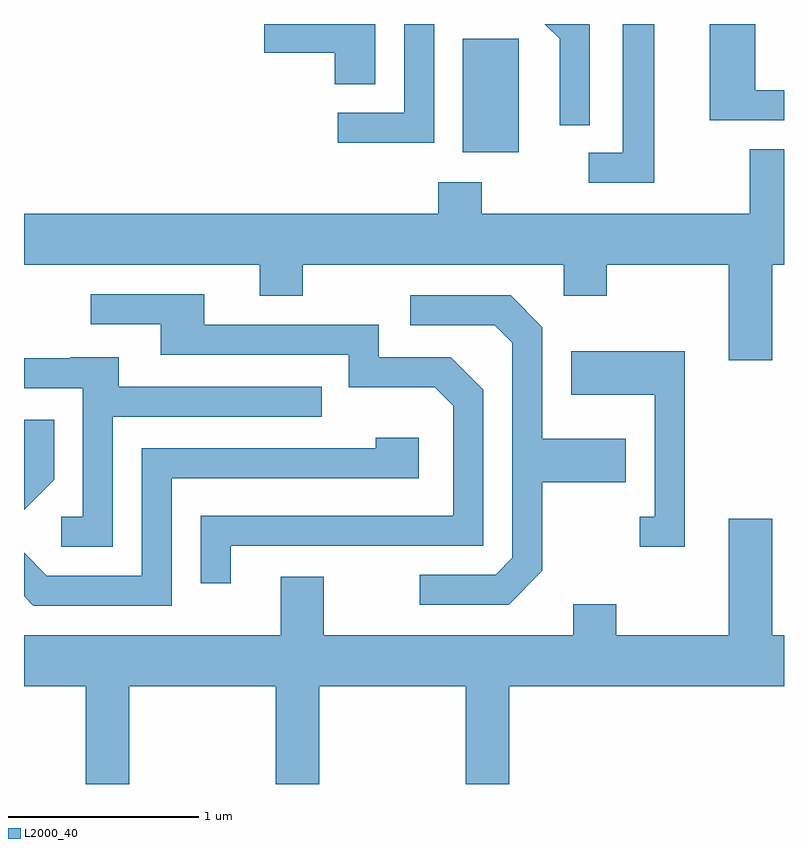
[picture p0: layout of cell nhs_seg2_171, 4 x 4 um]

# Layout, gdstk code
import gdstk
lib = gdstk.Library(unit=1e-6, precision=1e-09)
def R(c, l, rs):  # rectangles x0, y0, x1, y1
    for r in rs: c.add(gdstk.rectangle(r[:2], r[2:], *l))
def P(c, l, *ps):  # polygons
    for p in ps: c.add(gdstk.Polygon(p, *l))
L2000_40 = (2000, 40)

nhs_seg2_171 = lib.new_cell('nhs_seg2_171')
R(nhs_seg2_171, L2000_40, [(191.921,1051.126,192.214,1051.724)])
P(nhs_seg2_171, L2000_40, [(192.929,1051.802),(192.761,1051.802),(192.761,1051.124),(192.583,1051.124),(192.583,1050.966),(192.929,1050.966)],
  [(192.589,1051.797),(192.584,1051.802),(192.353,1051.802),(192.431,1051.724),(192.431,1051.268),(192.589,1051.268)],
  [(193.611,1051.454),(193.459,1051.454),(193.459,1051.802),(193.221,1051.802),(193.221,1051.296),(193.611,1051.296)],
  [(191.769,1051.802),(191.611,1051.802),(191.611,1051.334),(191.263,1051.334),(191.263,1051.176),(191.769,1051.176)],
  [(191.459,1051.802),(190.876,1051.802),(190.876,1051.651),(191.246,1051.651),(191.246,1051.486),(191.459,1051.486)],
  [(193.549,1050.536),(193.611,1050.536),(193.611,1051.144),(193.431,1051.144),(193.431,1050.804),(192.019,1050.804),(192.019,1050.969),(191.791,1050.969),(191.791,1050.804),(189.611,1050.804),(189.611,1050.536),(190.851,1050.536),(190.851,1050.371),(191.079,1050.371),(191.079,1050.536),(192.451,1050.536),(192.451,1050.371),(192.679,1050.371),(192.679,1050.536),(193.321,1050.536),(193.321,1050.031),(193.549,1050.031)],
  [(190.699,1049.056),(192.029,1049.056),(192.029,1049.877),(191.857,1050.049),(191.479,1050.049),(191.479,1050.219),(190.559,1050.219),(190.559,1050.379),(189.963,1050.379),(189.963,1050.221),(190.331,1050.221),(190.331,1050.061),(191.321,1050.061),(191.321,1049.891),(191.774,1049.891),(191.871,1049.794),(191.871,1049.214),(190.541,1049.214),(190.541,1048.858),(190.699,1048.858)],
  [(192.339,1048.924),(192.339,1049.391),(192.779,1049.391),(192.779,1049.619),(192.339,1049.619),(192.339,1050.207),(192.172,1050.374),(191.643,1050.374),(191.643,1050.216),(192.089,1050.216),(192.181,1050.124),(192.181,1048.992),(192.094,1048.904),(191.693,1048.904),(191.693,1048.746),(192.162,1048.746)],
  [(193.089,1050.079),(192.491,1050.079),(192.491,1049.851),(192.931,1049.851),(192.931,1049.209),(192.853,1049.209),(192.853,1049.051),(193.089,1049.051)],
  [(190.079,1049.736),(191.178,1049.736),(191.178,1049.894),(190.109,1049.894),(190.109,1050.049),(189.855,1050.049),(189.855,1050.044),(189.611,1050.044),(189.611,1049.886),(189.921,1049.886),(189.921,1049.209),(189.808,1049.209),(189.808,1049.051),(190.079,1049.051)],
  [(189.769,1049.404),(189.769,1049.718),(189.611,1049.718),(189.611,1049.245)],
  [(190.389,1049.411),(191.689,1049.411),(191.689,1049.624),(191.461,1049.624),(191.461,1049.569),(190.231,1049.569),(190.231,1048.899),(189.732,1048.899),(189.611,1049.02),(189.611,1048.789),(189.659,1048.741),(190.389,1048.741)],
  [(190.164,1048.316),(190.936,1048.316),(190.936,1047.802),(191.164,1047.802),(191.164,1048.316),(191.936,1048.316),(191.936,1047.802),(192.164,1047.802),(192.164,1048.316),(193.611,1048.316),(193.611,1048.584),(193.549,1048.584),(193.549,1049.199),(193.321,1049.199),(193.321,1048.584),(192.729,1048.584),(192.729,1048.749),(192.501,1048.749),(192.501,1048.584),(191.189,1048.584),(191.189,1048.894),(190.961,1048.894),(190.961,1048.584),(189.611,1048.584),(189.611,1048.316),(189.936,1048.316),(189.936,1047.802),(190.164,1047.802)])

lib.write_gds('nhs_seg2_171.gds')
